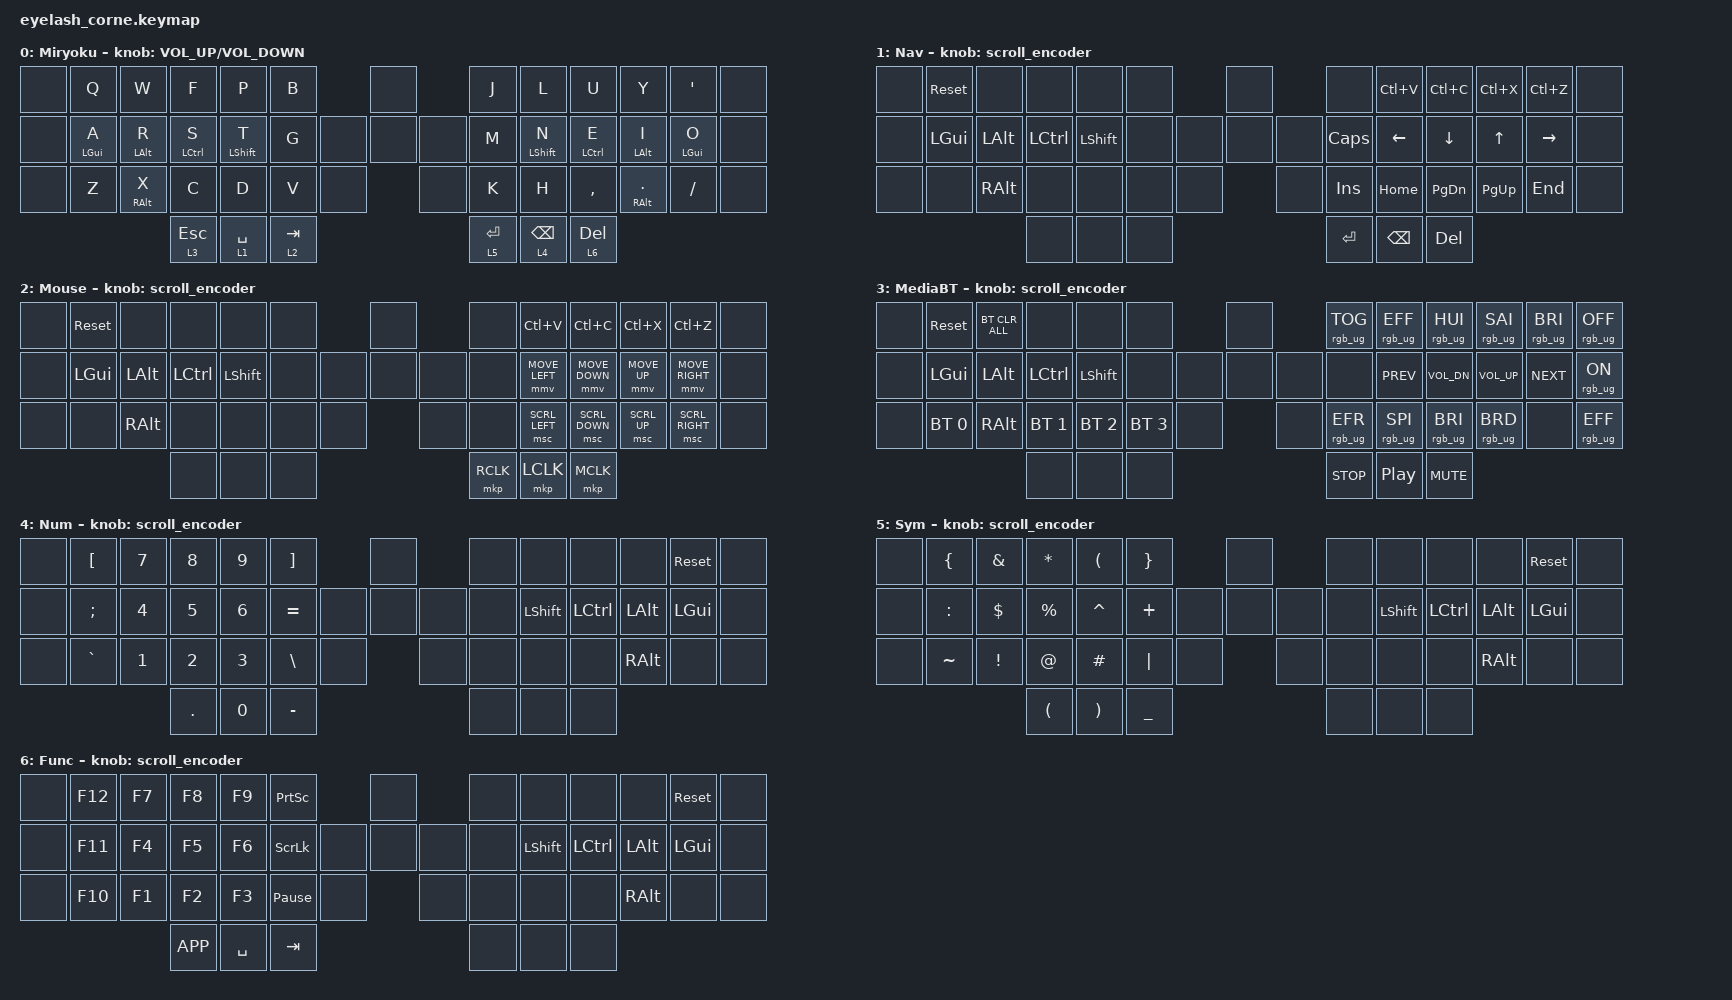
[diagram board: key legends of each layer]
#define ZMK_POINTING_DEFAULT_MOVE_VAL 1200  // 600
#define ZMK_POINTING_DEFAULT_SCRL_VAL 25   // 10

#include <input/processors.dtsi>
#include <zephyr/dt-bindings/input/input-event-codes.h>
#include <behaviors.dtsi>
#include <dt-bindings/zmk/bt.h>
#include <dt-bindings/zmk/keys.h>
#include <dt-bindings/zmk/outputs.h>
#include <dt-bindings/zmk/pointing.h>
#include <dt-bindings/zmk/rgb.h>

&mmv_input_listener { input-processors = <&zip_xy_scaler 2 1>; };

&msc_input_listener { input-processors = <&zip_scroll_scaler 2 1>; };

&msc {
    acceleration-exponent = <1>;      // 0
    time-to-max-speed-ms = <100>;       // 300
    delay-ms = <0>;                   // 0
};

&mmv {
    time-to-max-speed-ms = <500>;
    acceleration-exponent = <1>;
    trigger-period-ms = <16>;
};

/ {
    behaviors {
        td0: td0 {
            compatible = "zmk,behavior-tap-dance";
            display-name = "Shift/Caps Lock Tap Dance";
            #binding-cells = <0>;
            bindings = <&kp LEFT_SHIFT>, <&kp CAPS>;
        };
        
        // Home row mods behavior for Miryoku
        hm: homerow_mods {
            compatible = "zmk,behavior-hold-tap";
            #binding-cells = <2>;
            tapping-term-ms = <200>;
            quick-tap-ms = <0>;
            flavor = "tap-preferred";
            bindings = <&kp>, <&kp>;
        };
    };

    rgb_encoder: rgb_encoder {
        compatible = "zmk,behavior-sensor-rotate";
        #sensor-binding-cells = <0>;
        bindings = <&rgb_ug RGB_BRI>, <&rgb_ug RGB_BRD>;
    };

    scroll_encoder: scroll_encoder {
        compatible = "zmk,behavior-sensor-rotate";
        #sensor-binding-cells = <0>;
        bindings = <&msc SCRL_DOWN>, <&msc SCRL_UP>;
        tap-ms = <100>;
    };

    keymap {
        compatible = "zmk,keymap";

        // Layer 0: Base (Colemak-DH with home row mods)
        default_layer {
            display-name = "Miryoku";
            bindings = <
&none         &kp Q         &kp W         &kp F         &kp P         &kp B                             &none                 &kp J         &kp L         &kp U         &kp Y         &kp SQT       &none
&none         &hm LGUI A    &hm LALT R    &hm LCTRL S   &hm LSHFT T   &kp G                     &none   &none   &none         &kp M         &hm LSHFT N   &hm LCTRL E   &hm LALT I    &hm LGUI O    &none
&none         &kp Z         &hm RALT X    &kp C         &kp D         &kp V         &none               &none                 &kp K         &kp H         &kp COMMA     &hm RALT DOT  &kp FSLH      &none
                                          &lt 3 ESC     &lt 1 SPACE   &lt 2 TAB                                               &lt 5 ENTER   &lt 4 BSPC    &lt 6 DEL
            >;
            sensor-bindings = <&inc_dec_kp C_VOLUME_UP C_VOLUME_DOWN>;
        };

        // Layer 1: Navigation
        nav_layer {
            display-name = "Nav";
            bindings = <
&none         &sys_reset    &none         &none         &none         &none                             &none                 &none         &kp LC(V)     &kp LC(C)     &kp LC(X)     &kp LC(Z)     &none
&none         &kp LGUI      &kp LALT      &kp LCTRL     &kp LSHFT     &none                     &none   &none   &none         &kp CAPS      &kp LEFT      &kp DOWN      &kp UP        &kp RIGHT     &none
&none         &none         &kp RALT      &none         &none         &none         &none               &none                 &kp INS       &kp HOME      &kp PG_DN     &kp PG_UP     &kp END       &none
                                          &none         &none         &none                                                   &kp ENTER     &kp BSPC      &kp DEL
            >;
            sensor-bindings = <&scroll_encoder>;
        };

        // Layer 2: Mouse
        mouse_layer {
            display-name = "Mouse";
            bindings = <
&none         &sys_reset    &none         &none         &none         &none                             &none                 &none         &kp LC(V)      &kp LC(C)      &kp LC(X)    &kp LC(Z)       &none
&none         &kp LGUI      &kp LALT      &kp LCTRL     &kp LSHFT     &none                     &none   &none   &none         &none         &mmv MOVE_LEFT &mmv MOVE_DOWN &mmv MOVE_UP &mmv MOVE_RIGHT &none
&none         &none         &kp RALT      &none         &none         &none         &none               &none                 &none         &msc SCRL_LEFT &msc SCRL_DOWN &msc SCRL_UP &msc SCRL_RIGHT &none
                                          &none         &none         &none                                                   &mkp RCLK     &mkp LCLK      &mkp MCLK
            >;
            sensor-bindings = <&scroll_encoder>;
        };

        // Layer 3: Media/RGB/Bluetooth
        mediabt_layer {
            display-name = "MediaBT";
            bindings = <
&none         &sys_reset    &bt BT_CLR_ALL &none         &none         &none                             &none                 &rgb_ug RGB_TOG   &rgb_ug RGB_EFF   &rgb_ug RGB_HUI   &rgb_ug RGB_SAI   &rgb_ug RGB_BRI &rgb_ug RGB_OFF
&none         &kp LGUI      &kp LALT       &kp LCTRL     &kp LSHFT     &none                     &none   &none   &none         &none             &kp C_PREV        &kp C_VOL_DN      &kp C_VOL_UP      &kp C_NEXT      &rgb_ug RGB_ON
&none         &bt BT_SEL 0  &kp RALT       &bt BT_SEL 1  &bt BT_SEL 2  &bt BT_SEL 3  &none               &none                 &rgb_ug RGB_EFR   &rgb_ug RGB_SPI   &rgb_ug RGB_BRI   &rgb_ug RGB_BRD   &none           &rgb_ug RGB_EFF
                                          &none         &none         &none                                                   &kp C_STOP        &kp C_PP          &kp C_MUTE
            >;
            sensor-bindings = <&scroll_encoder>;
        };

        // Layer 4: Numbers
        num_layer {
            display-name = "Num";
            bindings = <
&none         &kp LBKT      &kp N7        &kp N8        &kp N9        &kp RBKT                          &none                 &none         &none         &none         &none         &sys_reset    &none
&none         &kp SEMI      &kp N4        &kp N5        &kp N6        &kp EQUAL                 &none   &none   &none         &none         &kp LSHFT     &kp LCTRL     &kp LALT      &kp LGUI      &none
&none         &kp GRAVE     &kp N1        &kp N2        &kp N3        &kp BSLH      &none               &none                 &none         &none         &none         &kp RALT      &none         &none
                                          &kp DOT       &kp N0        &kp MINUS                                               &none         &none         &none
            >;
            sensor-bindings = <&scroll_encoder>;
        };

        // Layer 5: Symbols
        sym_layer {
            display-name = "Sym";
            bindings = <
&none         &kp LBRC      &kp AMPS      &kp ASTRK     &kp LPAR      &kp RBRC                          &none                 &none         &none         &none         &none         &sys_reset    &none
&none         &kp COLON     &kp DLLR      &kp PRCNT     &kp CARET     &kp PLUS                  &none   &none   &none         &none         &kp LSHFT     &kp LCTRL     &kp LALT      &kp LGUI      &none
&none         &kp TILDE     &kp EXCL      &kp AT        &kp HASH      &kp PIPE      &none               &none                 &none         &none         &none         &kp RALT      &none         &none
                                          &kp LPAR      &kp RPAR      &kp UNDER                                               &none         &none         &none
            >;
            sensor-bindings = <&scroll_encoder>;
        };

        // Layer 6: Function Keys
        func_layer {
            display-name = "Func";
            bindings = <
&none         &kp F12       &kp F7        &kp F8        &kp F9        &kp PSCRN                         &none                 &none         &none         &none         &none         &sys_reset    &none
&none         &kp F11       &kp F4        &kp F5        &kp F6        &kp SLCK                  &none   &none   &none         &none         &kp LSHFT     &kp LCTRL     &kp LALT      &kp LGUI      &none
&none         &kp F10       &kp F1        &kp F2        &kp F3        &kp PAUSE_BREAK &none             &none                 &none         &none         &none         &kp RALT      &none         &none
                                          &kp K_APP     &kp SPACE     &kp TAB                                                 &none         &none         &none
            >;
            sensor-bindings = <&scroll_encoder>;
        };
    };
};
